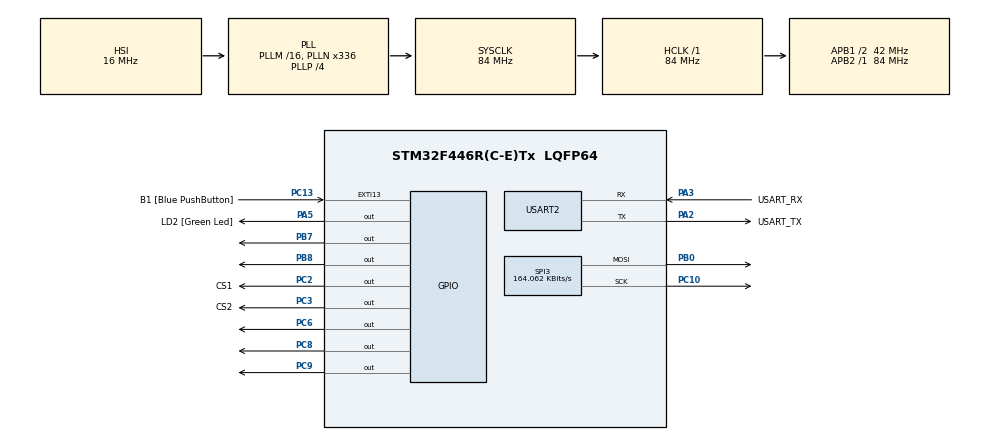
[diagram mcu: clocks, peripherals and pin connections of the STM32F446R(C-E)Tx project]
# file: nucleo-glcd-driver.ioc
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FREERTOS.Tasks01=defaultTask,24,128,startDefaultTask,Default,NULL,Dynamic,NULL,NULL
FREERTOS.configUSE_NEWLIB_REENTRANT=1
Mcu.Family=STM32F4
Mcu.Name=STM32F446R(C-E)Tx
Mcu.Package=LQFP64
NVIC.PriorityGroup=NVIC_PRIORITYGROUP_4
NVIC.TIM6_DAC_IRQn=true\:15\:0\:false\:false\:true\:false\:false\:true
NVIC.TimeBase=TIM6_DAC_IRQn
NVIC.TimeBaseIP=TIM6
PA13.GPIO_Label=TMS
PA13.Mode=Serial_Wire
PA13.Signal=SYS_JTMS-SWDIO
PA14.GPIO_Label=TCK
PA14.Mode=Serial_Wire
PA14.Signal=SYS_JTCK-SWCLK
PA2.GPIO_Label=USART_TX
PA2.Mode=Asynchronous
PA2.Signal=USART2_TX
PA3.GPIO_Label=USART_RX
PA3.Mode=Asynchronous
PA3.Signal=USART2_RX
PA5.GPIO_Label=LD2 [Green Led]
PA5.Signal=GPIO_Output
PB0.Mode=TX_Only_Simplex_Unidirect_Master
PB0.Signal=SPI3_MOSI
PB3.GPIO_Label=SWO
PB3.Signal=SYS_JTDO-SWO
PB7.Signal=GPIO_Output
PB8.Signal=GPIO_Output
PC10.Mode=TX_Only_Simplex_Unidirect_Master
PC10.Signal=SPI3_SCK
PC13.GPIO_Label=B1 [Blue PushButton]
PC13.GPIO_ModeDefaultEXTI=GPIO_MODE_IT_FALLING
PC13.Signal=GPXTI13
PC14-OSC32_IN.Mode=LSE-External-Oscillator
PC14-OSC32_IN.Signal=RCC_OSC32_IN
PC15-OSC32_OUT.Mode=LSE-External-Oscillator
PC15-OSC32_OUT.Signal=RCC_OSC32_OUT
PC2.GPIO_Label=CS1
PC2.Signal=GPIO_Output
PC3.GPIO_Label=CS2
PC3.Signal=GPIO_Output
PC6.Signal=GPIO_Output
PC8.Signal=GPIO_Output
PC9.Signal=GPIO_Output
PH0-OSC_IN.Mode=HSE-External-Oscillator
PH0-OSC_IN.Signal=RCC_OSC_IN
PH1-OSC_OUT.Mode=HSE-External-Oscillator
PH1-OSC_OUT.Signal=RCC_OSC_OUT
ProjectManager.HeapSize=0x200
ProjectManager.StackSize=0x400
ProjectManager.TargetToolchain=STM32CubeIDE
RCC.48MHZClocksFreq_Value=84000000
RCC.AHBFreq_Value=84000000
RCC.APB1CLKDivider=RCC_HCLK_DIV2
RCC.APB1Freq_Value=42000000
RCC.APB1TimFreq_Value=84000000
RCC.APB2Freq_Value=84000000
RCC.APB2TimFreq_Value=84000000
RCC.CortexFreq_Value=84000000
RCC.FLatency-AdvancedSettings=FLASH_LATENCY_2
RCC.HCLKFreq_Value=84000000
RCC.HSE_VALUE=8000000
RCC.HSI_VALUE=16000000
RCC.PLLN=336
RCC.PLLP=RCC_PLLP_DIV4
RCC.SYSCLKFreq_VALUE=84000000
RCC.SYSCLKSource=RCC_SYSCLKSOURCE_PLLCLK
RCC.USBFreq_Value=168000000
RCC.VCOOutputFreq_Value=336000000
SPI3.BaudRatePrescaler=SPI_BAUDRATEPRESCALER_256
SPI3.CLKPhase=SPI_PHASE_2EDGE
SPI3.CLKPolarity=SPI_POLARITY_HIGH
SPI3.CalculateBaudRate=164.062 KBits/s
SPI3.Direction=SPI_DIRECTION_2LINES
SPI3.Mode=SPI_MODE_MASTER
SPI3.VirtualType=VM_MASTER
USART2.VirtualMode=VM_ASYNC
VP_FREERTOS_VS_CMSIS_V2.Mode=CMSIS_V2
VP_SYS_VS_tim6.Mode=TIM6
VP_TIM7_VS_ClockSourceINT.Mode=Enable_Timer
board=NUCLEO-F446RE

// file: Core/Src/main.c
/* USER CODE BEGIN Header */
/**
  ******************************************************************************
  * @file           : main.c
  * @brief          : Main program body
  ******************************************************************************
  * @attention
  *
  * <h2><center>&copy; Copyright (c) 2021 STMicroelectronics.
  * All rights reserved.</center></h2>
  *
  * This software component is licensed by ST under Ultimate Liberty license
  * SLA0044, the "License"; You may not use this file except in compliance with
  * the License. You may obtain a copy of the License at:
  *                             www.st.com/SLA0044
  *
  ******************************************************************************
  */
/* USER CODE END Header */
#include "main.h"
#include "cmsis_os.h"

/* USER CODE BEGIN Includes */
#include "glcd.h"
#include "fonts/font5x7.h"
#include "fonts/Liberation_Sans20x28_Numbers.h"
#include "fonts/Liberation_Sans17x17_Alpha.h"
#include <time.h>
#include <stdlib.h>

/* USER CODE END Includes */

/* USER CODE BEGIN PD */
#define MAX_SPI_TRANSMIT_TIMEOUT 50 //in ms, arbitrarily chosen
#define MAX_UART_TRANSMIT_TIMEOUT 50 //in ms, arbitrarily chosen

// pins
#define SCK_PORT GPIOC
#define SCK_PIN GPIO_PIN_10
#define SI_PORT GPIOB
#define SI_PIN GPIO_PIN_0
#define CS_PORT GPIOB
#define CS_PIN GPIO_PIN_7
#define RST_PORT GPIOC
#define RST_PIN GPIO_PIN_9
#define A0_PORT GPIOB
#define A0_PIN GPIO_PIN_8

//DEBUG PURPOSES
//#define DELAY_BETWEEN_WRITES
#define DELAY_DURATION_BETWEEN_WRITES 100
/* USER CODE END PD */

SPI_HandleTypeDef hspi3;

TIM_HandleTypeDef htim7;

UART_HandleTypeDef huart2;

/* Definitions for defaultTask */
osThreadId_t defaultTaskHandle;
const osThreadAttr_t defaultTask_attributes = {
  .name = "defaultTask",
  .stack_size = 128 * 4,
  .priority = (osPriority_t) osPriorityNormal,
};

void SystemClock_Config(void);
static void MX_GPIO_Init(void);
static void MX_USART2_UART_Init(void);
static void MX_TIM7_Init(void);
static void MX_SPI3_Init(void);
void startDefaultTask(void *argument);

int main(void)
{

  /* MCU Configuration--------------------------------------------------------*/

  /* Reset of all peripherals, Initializes the Flash interface and the Systick. */
  HAL_Init();

  /* Configure the system clock */
  SystemClock_Config();

  /* Initialize all configured peripherals */
  MX_GPIO_Init();
  MX_USART2_UART_Init();
  MX_TIM7_Init();
  MX_SPI3_Init();

  /* Init scheduler */
  osKernelInitialize();

  /* Create the thread(s) */
  /* creation of defaultTask */
  defaultTaskHandle = osThreadNew(startDefaultTask, NULL, &defaultTask_attributes);

  /* Start scheduler */
  osKernelStart();

  /* We should never get here as control is now taken by the scheduler */
  /* Infinite loop */
  while (1)
  {

  }
}

void SystemClock_Config(void)
{
  RCC_OscInitTypeDef RCC_OscInitStruct = {0};
  RCC_ClkInitTypeDef RCC_ClkInitStruct = {0};

  /** Configure the main internal regulator output voltage
  */
  __HAL_RCC_PWR_CLK_ENABLE();
  __HAL_PWR_VOLTAGESCALING_CONFIG(PWR_REGULATOR_VOLTAGE_SCALE3);
  /** Initializes the RCC Oscillators according to the specified parameters
  * in the RCC_OscInitTypeDef structure.
  */
  RCC_OscInitStruct.OscillatorType = RCC_OSCILLATORTYPE_HSI;
  RCC_OscInitStruct.HSIState = RCC_HSI_ON;
  RCC_OscInitStruct.HSICalibrationValue = RCC_HSICALIBRATION_DEFAULT;
  RCC_OscInitStruct.PLL.PLLState = RCC_PLL_ON;
  RCC_OscInitStruct.PLL.PLLSource = RCC_PLLSOURCE_HSI;
  RCC_OscInitStruct.PLL.PLLM = 16;
  RCC_OscInitStruct.PLL.PLLN = 336;
  RCC_OscInitStruct.PLL.PLLP = RCC_PLLP_DIV4;
  RCC_OscInitStruct.PLL.PLLQ = 2;
  RCC_OscInitStruct.PLL.PLLR = 2;
  if (HAL_RCC_OscConfig(&RCC_OscInitStruct) != HAL_OK)
  {
    Error_Handler();
  }
  /** Initializes the CPU, AHB and APB buses clocks
  */
  RCC_ClkInitStruct.ClockType = RCC_CLOCKTYPE_HCLK|RCC_CLOCKTYPE_SYSCLK
                              |RCC_CLOCKTYPE_PCLK1|RCC_CLOCKTYPE_PCLK2;
  RCC_ClkInitStruct.SYSCLKSource = RCC_SYSCLKSOURCE_PLLCLK;
  RCC_ClkInitStruct.AHBCLKDivider = RCC_SYSCLK_DIV1;
  RCC_ClkInitStruct.APB1CLKDivider = RCC_HCLK_DIV2;
  RCC_ClkInitStruct.APB2CLKDivider = RCC_HCLK_DIV1;

  if (HAL_RCC_ClockConfig(&RCC_ClkInitStruct, FLASH_LATENCY_2) != HAL_OK)
  {
    Error_Handler();
  }
}

static void MX_SPI3_Init(void)
{

  /* SPI3 parameter configuration*/
  hspi3.Instance = SPI3;
  hspi3.Init.Mode = SPI_MODE_MASTER;
  hspi3.Init.Direction = SPI_DIRECTION_2LINES;
  hspi3.Init.DataSize = SPI_DATASIZE_8BIT;
  hspi3.Init.CLKPolarity = SPI_POLARITY_HIGH;
  hspi3.Init.CLKPhase = SPI_PHASE_2EDGE;
  hspi3.Init.NSS = SPI_NSS_SOFT;
  hspi3.Init.BaudRatePrescaler = SPI_BAUDRATEPRESCALER_256;
  hspi3.Init.FirstBit = SPI_FIRSTBIT_MSB;
  hspi3.Init.TIMode = SPI_TIMODE_DISABLE;
  hspi3.Init.CRCCalculation = SPI_CRCCALCULATION_DISABLE;
  hspi3.Init.CRCPolynomial = 10;
  if (HAL_SPI_Init(&hspi3) != HAL_OK)
  {
    Error_Handler();
  }

}

static void MX_TIM7_Init(void)
{

  TIM_MasterConfigTypeDef sMasterConfig = {0};

  htim7.Instance = TIM7;
  htim7.Init.Prescaler = 0;
  htim7.Init.CounterMode = TIM_COUNTERMODE_UP;
  htim7.Init.Period = 65535;
  htim7.Init.AutoReloadPreload = TIM_AUTORELOAD_PRELOAD_DISABLE;
  if (HAL_TIM_Base_Init(&htim7) != HAL_OK)
  {
    Error_Handler();
  }
  sMasterConfig.MasterOutputTrigger = TIM_TRGO_RESET;
  sMasterConfig.MasterSlaveMode = TIM_MASTERSLAVEMODE_DISABLE;
  if (HAL_TIMEx_MasterConfigSynchronization(&htim7, &sMasterConfig) != HAL_OK)
  {
    Error_Handler();
  }

}

static void MX_USART2_UART_Init(void)
{

  huart2.Instance = USART2;
  huart2.Init.BaudRate = 115200;
  huart2.Init.WordLength = UART_WORDLENGTH_8B;
  huart2.Init.StopBits = UART_STOPBITS_1;
  huart2.Init.Parity = UART_PARITY_NONE;
  huart2.Init.Mode = UART_MODE_TX_RX;
  huart2.Init.HwFlowCtl = UART_HWCONTROL_NONE;
  huart2.Init.OverSampling = UART_OVERSAMPLING_16;
  if (HAL_UART_Init(&huart2) != HAL_OK)
  {
    Error_Handler();
  }

}

static void MX_GPIO_Init(void)
{
  GPIO_InitTypeDef GPIO_InitStruct = {0};

  /* GPIO Ports Clock Enable */
  __HAL_RCC_GPIOC_CLK_ENABLE();
  __HAL_RCC_GPIOH_CLK_ENABLE();
  __HAL_RCC_GPIOA_CLK_ENABLE();
  __HAL_RCC_GPIOB_CLK_ENABLE();

  /*Configure GPIO pin Output Level */
  HAL_GPIO_WritePin(GPIOC, CS1_Pin|CS2_Pin|GPIO_PIN_6|GPIO_PIN_8
                          |GPIO_PIN_9, GPIO_PIN_RESET);

  /*Configure GPIO pin Output Level */
  HAL_GPIO_WritePin(LD2_GPIO_Port, LD2_Pin, GPIO_PIN_RESET);

  /*Configure GPIO pin Output Level */
  HAL_GPIO_WritePin(GPIOB, GPIO_PIN_7|GPIO_PIN_8, GPIO_PIN_RESET);

  /*Configure GPIO pin : B1_Pin */
  GPIO_InitStruct.Pin = B1_Pin;
  GPIO_InitStruct.Mode = GPIO_MODE_IT_FALLING;
  GPIO_InitStruct.Pull = GPIO_NOPULL;
  HAL_GPIO_Init(B1_GPIO_Port, &GPIO_InitStruct);

  /*Configure GPIO pins : CS1_Pin CS2_Pin PC6 PC8
                           PC9 */
  GPIO_InitStruct.Pin = CS1_Pin|CS2_Pin|GPIO_PIN_6|GPIO_PIN_8
                          |GPIO_PIN_9;
  GPIO_InitStruct.Mode = GPIO_MODE_OUTPUT_PP;
  GPIO_InitStruct.Pull = GPIO_NOPULL;
  GPIO_InitStruct.Speed = GPIO_SPEED_FREQ_LOW;
  HAL_GPIO_Init(GPIOC, &GPIO_InitStruct);

  /*Configure GPIO pin : LD2_Pin */
  GPIO_InitStruct.Pin = LD2_Pin;
  GPIO_InitStruct.Mode = GPIO_MODE_OUTPUT_PP;
  GPIO_InitStruct.Pull = GPIO_NOPULL;
  GPIO_InitStruct.Speed = GPIO_SPEED_FREQ_LOW;
  HAL_GPIO_Init(LD2_GPIO_Port, &GPIO_InitStruct);

  /*Configure GPIO pins : PB7 PB8 */
  GPIO_InitStruct.Pin = GPIO_PIN_7|GPIO_PIN_8;
  GPIO_InitStruct.Mode = GPIO_MODE_OUTPUT_PP;
  GPIO_InitStruct.Pull = GPIO_NOPULL;
  GPIO_InitStruct.Speed = GPIO_SPEED_FREQ_LOW;
  HAL_GPIO_Init(GPIOB, &GPIO_InitStruct);

}

uint8_t correct_Y(uint8_t y){
	return ((y+48)%64);
}

/* USER CODE BEGIN 4 */
// draw p1 labels
void drawP1(){
	char* labelsP1[] = {"Solar:", "Motor:", "Battery:"};
	int labelsP1L = 3;
	char* labelspeed = "km/h";

	glcd_tiny_set_font(Font5x7,5,7,32,127);
	glcd_clear_buffer();

	// start drawing at y = 5
	uint8_t y = 5;

	// draw the labels
	for(int i = 0; i < labelsP1L; i++){
		char* label = labelsP1[i];
		int j = 0;
		// char by char cuz draw xy only with char
		while(label[j] != 0){
			glcd_tiny_draw_char_xy(j*6, correct_Y(y), label[j]);
			j++;
		}
		glcd_tiny_draw_char_xy(72, correct_Y(y), 'w');
		// go next rows, these value are just what I think will look good
		y+=23;
	}

	// draw divider line
	glcd_draw_line(81, 0,  81, 63, BLACK);
	int x = 0;
	// draw km/h
	while(labelspeed[x] != 0){
		glcd_tiny_draw_char_xy(94+(x*6), correct_Y(52), labelspeed[x]);
		x++;
	}

	HAL_GPIO_WritePin(CS1_GPIO_Port, CS1_Pin, GPIO_PIN_RESET);
	glcd_write();
	HAL_GPIO_WritePin(CS1_GPIO_Port, CS1_Pin, GPIO_PIN_SET);
}

// pass in array of values in order of solar, motor, battery, and speed
void updateP1(int value[4]){

	char valueS[4][4];

	glcd_tiny_set_font(Font5x7,5,7,32,127);

	// get it in strings
	for(int i = 0; i < 4; i++){
		// sign
		int v = value[i];
		if(v<0){
			valueS[i][0] = '-';
			v *= -1;
		}
		else{
			valueS[i][0] = '+';
		}
		// hundred
		if(v/100 != 0){
			valueS[i][1] = '0' + v/100;
		}
		else{
			valueS[i][1] = ' ';
		}
		// tenth
		if((v/10)%10 != 0 || valueS[i][1] != ' '){
			valueS[i][2] = '0' + (v/10)%10;
		}
		else{
			valueS[i][2] = ' ';
		}
		// ones
		valueS[i][3] = '0' + v%10;
	}

	// write the 3 small values
	int y = 5;
	for(int i = 0; i < 3; i++){
		for(int j = 0; j < 4; j++){
			glcd_tiny_draw_char_xy(48+(j*6), correct_Y(y), valueS[i][j]);
		}
		y+=23;
	}

	// now write the big speed
	glcd_set_font(Liberation_Sans20x28_Numbers, 20, 28, '.', '9');
	glcd_draw_char_xy(85, 0, valueS[3][2]);
	glcd_draw_char_xy(105, 0, valueS[3][3]);

	HAL_GPIO_WritePin(CS1_GPIO_Port, CS1_Pin, GPIO_PIN_RESET);
	glcd_write();
	HAL_GPIO_WritePin(CS1_GPIO_Port, CS1_Pin, GPIO_PIN_SET);
}

// draw p2 labels
void drawP2(){
	char* labelsP2[] = {"Cruise:", "Light:"};
	int labelsP2L = 2;

	glcd_tiny_set_font(Font5x7,5,7,32,127);
	glcd_clear_buffer();

	int y = 5;
	for(int i = 0; i < labelsP2L; i++){
		char* label = labelsP2[i];
		int j = 0;
		while(label[j] != 0){
			glcd_tiny_draw_char_xy(50+j*6, correct_Y(y), label[j]);
			j++;
		}
		y+=23;
	}

	glcd_draw_line(44, 0,  44, 63, BLACK);
	glcd_tiny_draw_char_xy(19, correct_Y(52), '%');

	HAL_GPIO_WritePin(CS2_GPIO_Port, CS2_Pin, GPIO_PIN_RESET);
	glcd_write();
	HAL_GPIO_WritePin(CS2_GPIO_Port, CS2_Pin, GPIO_PIN_SET);
}

// pass in array of values in order of cruise, light, regen, battery
void updateP2(int value[4]){
	glcd_tiny_set_font(Font5x7,5,7,32,127);

	// write the 2 on off
	int y = 5;
	for(int i = 0; i < 2; i++){
		char* status = "OFF";
		if(value[i]) status = " ON";
		for(int j = 0; j < 3; j++){
			glcd_tiny_draw_char_xy(95+(j*6), correct_Y(y), status[j]);
		}
		y+=23;
	}

	char* regen = "     ";
	if(value[2]) regen = "REGEN";

	glcd_set_font(Liberation_Sans17x17_Alpha, 17, 17, 'A', 'Z');
	for(int i = 0; i < 5; i++){
		glcd_draw_char_xy(49+i*15, 30, regen[i]);
	}

	// now write the big battery
	glcd_set_font(Liberation_Sans20x28_Numbers, 20, 28, '.', '9');
	glcd_draw_char_xy(0, 0, '0' + value[3]/10);
	glcd_draw_char_xy(21, 0, '0' + value[3]%10);

	HAL_GPIO_WritePin(CS2_GPIO_Port, CS2_Pin, GPIO_PIN_RESET);
	glcd_write();
	HAL_GPIO_WritePin(CS2_GPIO_Port, CS2_Pin, GPIO_PIN_SET);
}
/* USER CODE END 4 */

void startDefaultTask(void *argument)
{
  /* USER CODE BEGIN 5 */
	glcd_init();
	//glcd_test_hello_world();
	//glcd_test_rectangles();

	// my stuff
	glcd_clear();
	srand(time(NULL));   // Initialization, should only be called once.

	int t = 500;
	int p1values[4] = {420, 805, -404, 69};
	int p2values[4] = {1, 1, 1, 87};

	drawP2();
	updateP2(p2values);

	drawP1();
	updateP1(p1values);
	delay_ms(t);
//	HAL_GPIO_WritePin(CS1_GPIO_Port, CS1_Pin, GPIO_PIN_RESET);
//	glcd_test_hello_world();
//	HAL_GPIO_WritePin(CS1_GPIO_Port, CS1_Pin, GPIO_PIN_SET);
//
//
	while(1){
		for(int i = 0; i < 3; i++){
			int r = rand()%5;
			if(rand()%2 == 0){
				r*= -1;
			}
			p1values[i] += r;
		}
		int r = rand()%2;
		if(rand()%2 == 0){
			r*= -1;
		}
		p1values[3] += r;
		drawP1();
		updateP1(p1values);
		delay_ms(t);

		for(int i = 0; i < 3; i++){
			int s = rand()%2;
			p2values[i] = s;
		}
		int s = rand()%2;
		if(rand()%2 == 0){
			s*= -1;
		}
		p2values[3] += s;
		drawP2();
		updateP2(p2values);
		delay_ms(t);
	}

	// my stuff

  /* Infinite loop */
  for(;;)
  {
    osDelay(1000);
  }
  /* USER CODE END 5 */
}

void HAL_TIM_PeriodElapsedCallback(TIM_HandleTypeDef *htim)
{
  if (htim->Instance == TIM6) {
    HAL_IncTick();
  }
}

void Error_Handler(void)
{
  __disable_irq();
  while (1)
  {
  }
}

/************************ (C) COPYRIGHT STMicroelectronics *****END OF FILE****/
